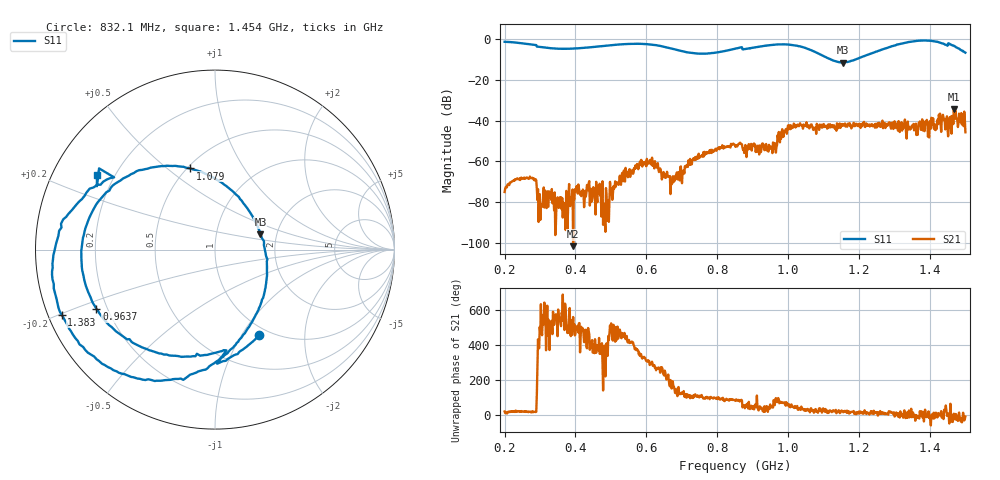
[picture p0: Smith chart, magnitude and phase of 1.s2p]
! NanoVNA-App
! Date: 2024-06-25 16:48:09
! Start: 200MHz Stop: 1.5GHz Points: 801
! S-Parameter data: F S11 S21 S12 S22
# Hz S RI R 50
!  Frequency  S11_Real  S11_Imag  S21_Real  S21_Imag  S12_Real  S12_Imag  S22_Real  S22_Imag
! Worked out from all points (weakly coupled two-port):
!   801 points, 200 MHz to 1.5 GHz, reference 50 ohm
!   highest |S21| = -34.33 dB at 1.468 GHz (marker M1); lowest = -101.6 dB at 393.4 MHz (marker M2)
!   lowest |S11| = -11.5 dB at 1.155 GHz (marker M3), VSWR 1.73, Z = 82.2 + j15.2 ohm
!   |S11| at or under -10 dB: 1.121 GHz to 1.19 GHz (68.71 MHz wide, 5.95 % of centre)
!   S12 and S22 are empty: the file has one direction only
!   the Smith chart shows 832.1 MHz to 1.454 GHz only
!   S11 on the Smith chart (normalised r, x): 832.1 MHz: 0.89, -1.20; 963.8 MHz: 0.16, -0.23; 1.079 GHz: 0.52, +0.60; 1.383 GHz: 0.04, -0.20; 1.454 GHz: 0.13, +0.29
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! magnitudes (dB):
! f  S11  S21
! 200 MHz  -1.3  -75.0
! 276.4 MHz  -2.6  -68.2
! 302.4 MHz  -3.9  -81.1
! 393.4 MHz  -4.6  -101.6
! 417.8 MHz  -4.3  -74.6
! 487.6 MHz  -3.2  -77.0
! 580.2 MHz  -2.3  -61.2
! 633.9 MHz  -3.1  -63.8
! 674.5 MHz  -4.7  -67.3
! 736.2 MHz  -6.9  -59.2
! 832.1 MHz  -5.4  -52.9
! 850 MHz  -4.7  -52.1
! 963.8 MHz  -2.6  -53.4
! 1.006 GHz  -2.7  -44.2
! 1.068 GHz  -5.6  -42.8
! 1.079 GHz  -6.5  -46.4
! 1.155 GHz  -11.5  -42.4
! 1.284 GHz  -4.0  -40.9
! 1.383 GHz  -0.6  -42.3
! 1.454 GHz  -2.2  -40.5
! 1.468 GHz  -3.2  -34.3
! 1.5 GHz  -6.6  -45.7
